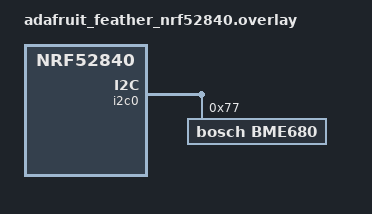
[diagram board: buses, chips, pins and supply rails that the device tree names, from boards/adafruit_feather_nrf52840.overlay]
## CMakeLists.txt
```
#
# Copyright (c) 2018 Bosch Sensortec GmbH
#
# SPDX-License-Identifier: Apache-2.0
#

cmake_minimum_required(VERSION 3.13.1)
find_package(Zephyr REQUIRED HINTS $ENV{ZEPHYR_BASE})
project(bme680)

FILE(GLOB app_sources src/*.c)
target_sources(app PRIVATE ${app_sources})
```

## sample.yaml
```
sample:
  name: BME680 Sensor sample
tests:
  sample.sensor.bme680:
    harness: sensor
    tags: samples sensor
    integration_platforms:
      - nrf52840dk_nrf52840
    platform_allow: nrf52840dk_nrf52840 adafruit_feather_nrf52840
```

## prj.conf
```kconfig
CONFIG_STDOUT_CONSOLE=y
CONFIG_I2C=y
CONFIG_SENSOR=y
CONFIG_BME680=y
```

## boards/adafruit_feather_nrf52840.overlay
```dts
/*
 * Copyright (c) 2020, Patrick Moffitt <patrick@moffitt.com>
 *
 * SPDX-License-Identifier: Apache-2.0
 *
 * i2c interface for the Feather nRF52840 Express and the
 * Adafruit BME680.
 */

&i2c0 {
	compatible = "nordic,nrf-twi";
	bme680: bme680@77 {
		compatible = "bosch,bme680";
		reg = <0x77>;
		label = "BME680";
	};
};
```

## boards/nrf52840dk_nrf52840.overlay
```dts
/*
 * Copyright (c) 2020, Nordic Semiconductor ASA
 *
 * SPDX-License-Identifier: Apache-2.0
 */

&i2c0 {
	bme680@76 {
		compatible = "bosch,bme680";
		reg = <0x76>;
		label = "BME680";
	};
};
```

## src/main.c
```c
/*
 * Copyright (c) 2018 Bosch Sensortec GmbH
 *
 * SPDX-License-Identifier: Apache-2.0
 */

#include <zephyr.h>
#include <device.h>
#include <drivers/sensor.h>
#include <stdio.h>

void main(void)
{
	const struct device *dev = device_get_binding(DT_LABEL(DT_INST(0, bosch_bme680)));
	struct sensor_value temp, press, humidity, gas_res;

	printf("Device %p name is %s\n", dev, dev->name);

	while (1) {
		k_sleep(K_MSEC(3000));

		sensor_sample_fetch(dev);
		sensor_channel_get(dev, SENSOR_CHAN_AMBIENT_TEMP, &temp);
		sensor_channel_get(dev, SENSOR_CHAN_PRESS, &press);
		sensor_channel_get(dev, SENSOR_CHAN_HUMIDITY, &humidity);
		sensor_channel_get(dev, SENSOR_CHAN_GAS_RES, &gas_res);

		printf("T: %d.%06d; P: %d.%06d; H: %d.%06d; G: %d.%06d\n",
				temp.val1, temp.val2, press.val1, press.val2,
				humidity.val1, humidity.val2, gas_res.val1,
				gas_res.val2);
	}
}
```
